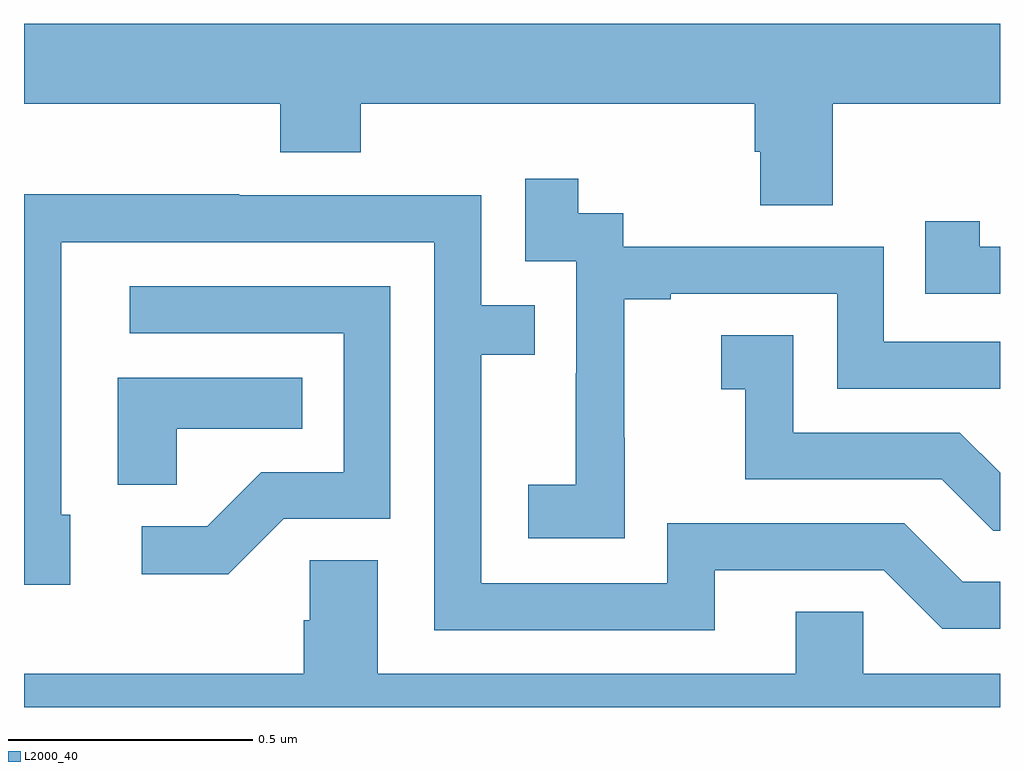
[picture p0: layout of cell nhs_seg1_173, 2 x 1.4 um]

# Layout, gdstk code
import gdstk
lib = gdstk.Library(unit=1e-6, precision=1e-09)
def P(c, l, *ps):  # polygons
    for p in ps: c.add(gdstk.Polygon(p, *l))
L2000_40 = (2000, 40)

nhs_seg1_173 = lib.new_cell('nhs_seg1_173')
P(nhs_seg1_173, L2000_40, [(114.657,514.436),(115,514.436),(115,514.6),(113,514.6),(113,514.436),(113.525,514.436),(113.525,514.337),(113.69,514.337),(113.69,514.436),(114.497,514.436),(114.497,514.338),(114.509,514.338),(114.509,514.228),(114.657,514.228)],
  [(114.231,513.751),(114.23,513.751),(114.23,514.035),(114.325,514.035),(114.325,514.047),(114.666,514.047),(114.666,513.852),(115,513.852),(115,513.948),(114.762,513.948),(114.762,514.143),(114.228,514.143),(114.228,514.212),(114.136,514.212),(114.136,514.282),(114.027,514.282),(114.027,514.113),(114.132,514.113),(114.132,513.884),(114.131,513.884),(114.131,513.655),(114.033,513.655),(114.033,513.545),(114.231,513.545)],
  [(114.415,513.48),(114.762,513.48),(114.882,513.36),(115,513.36),(115,513.456),(114.924,513.456),(114.804,513.576),(114.318,513.576),(114.318,513.453),(113.937,513.453),(113.937,513.922),(114.047,513.922),(114.047,514.023),(113.937,514.023),(113.937,514.248),(113.441,514.248),(113.441,514.25),(113,514.25),(113,513.45),(113.095,513.45),(113.095,513.594),(113.076,513.594),(113.076,514.152),(113.841,514.152),(113.841,513.357),(114.415,513.357)],
  [(115,514.143),(114.958,514.143),(114.958,514.195),(114.847,514.195),(114.847,514.047),(115,514.047)],
  [(113.532,513.585),(113.751,513.585),(113.751,514.062),(113.217,514.062),(113.217,513.966),(113.655,513.966),(113.655,513.681),(113.486,513.681),(113.375,513.57),(113.241,513.57),(113.241,513.472),(113.419,513.472)],
  [(115,513.68),(114.918,513.762),(114.576,513.762),(114.576,513.961),(114.429,513.961),(114.429,513.851),(114.478,513.851),(114.478,513.666),(114.881,513.666),(114.986,513.561),(115,513.561)],
  [(113.313,513.77),(113.57,513.77),(113.57,513.874),(113.192,513.874),(113.192,513.655),(113.313,513.655)],
  [(115,513.268),(114.72,513.268),(114.72,513.395),(114.581,513.395),(114.581,513.268),(113.725,513.268),(113.725,513.5),(113.586,513.5),(113.586,513.377),(113.573,513.377),(113.573,513.268),(113,513.268),(113,513.199),(115,513.199)])

lib.write_gds('nhs_seg1_173.gds')
